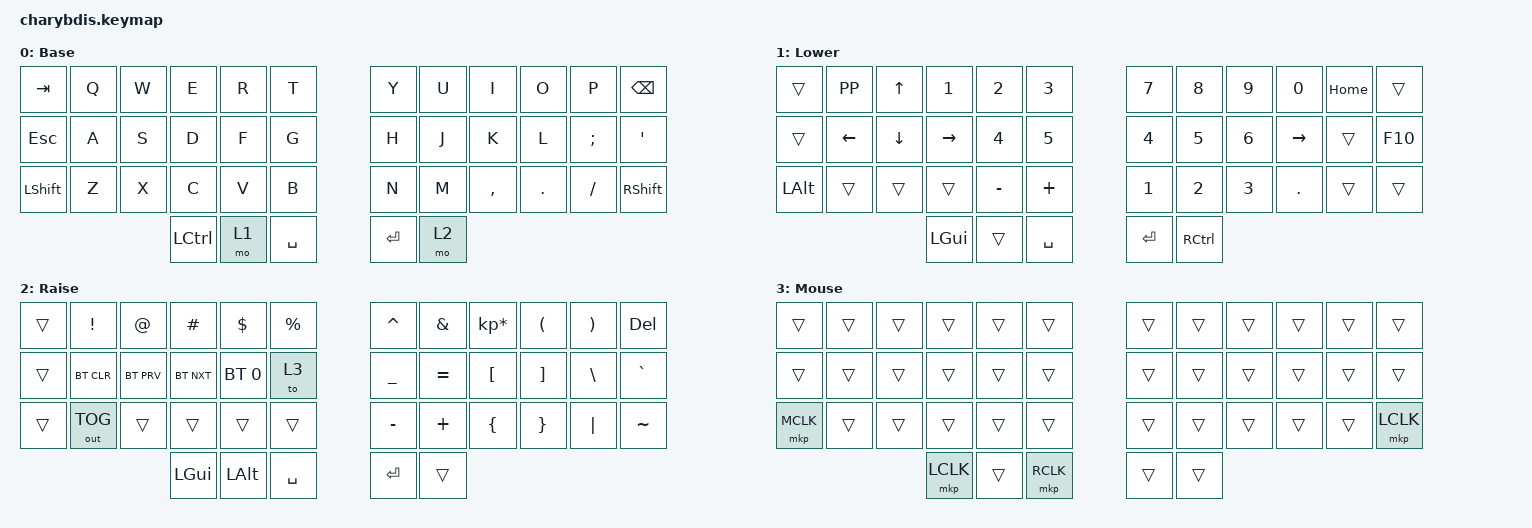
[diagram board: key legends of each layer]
#include <behaviors.dtsi>
#include <dt-bindings/zmk/keys.h>
#include <dt-bindings/zmk/bt.h>
#include <dt-bindings/zmk/mouse.h>
#include <dt-bindings/zmk/outputs.h>

/ {

  keymap {
    compatible = "zmk,keymap";

        Base {
            label = "Base";
            bindings = <
    &kp TAB     &kp Q   &kp W   &kp E       &kp R   &kp T                 &kp Y   &kp U      &kp I    &kp O     &kp P    &kp BSPC
    &kp ESC     &kp A   &kp S   &kp D       &kp F   &kp G                 &kp H   &kp J      &kp K    &kp L  &kp SEMI    &kp APOS
    &kp LSHFT   &kp Z   &kp X   &kp C       &kp V   &kp B                 &kp N   &kp M  &kp COMMA  &kp DOT  &kp FSLH  &kp RSHIFT
                                &kp LCTRL   &mo 1   &kp SPACE           &kp RET   &mo 2
            >;
            trackball-bindings = <&tmv_coarse>;
        };

        Lower {
            label = "Lower";
            bindings = <
    &trans          &kp K_PP    &kp UP      &kp N1      &kp N2      &kp N3               &kp N7     &kp N8    &kp N9     &kp N0  &kp HOME   &trans
    &trans          &kp LEFT    &kp DOWN    &kp RIGHT   &kp N4      &kp N5               &kp N4     &kp N5    &kp N6  &kp RIGHT    &trans  &kp F10
    &kp LEFT_ALT    &trans      &trans      &trans      &kp MINUS   &kp PLUS             &kp N1     &kp N2    &kp N3    &kp DOT    &trans   &trans
                                            &kp LGUI    &trans      &kp SPACE           &kp RET  &kp RCTRL
            >;
            trackball-bindings = <&tmv_fine>;
        };

        Raise {
            label = "Raise";
            bindings = <
    &trans  &kp EXCL        &kp AT      &kp HASH    &kp DLLR        &kp PRCNT         &kp CARET   &kp AMPS  &kp KP_MULTIPLY  &kp LPAR  &kp RPAR    &kp DEL
    &trans  &bt BT_CLR      &bt BT_PRV  &bt BT_NXT  &bt BT_SEL 0    &to 3             &kp UNDER  &kp EQUAL         &kp LBKT  &kp RBKT  &kp BSLH  &kp GRAVE
    &trans  &out OUT_TOG    &trans      &trans      &trans          &trans            &kp MINUS   &kp PLUS         &kp LBRC  &kp RBRC  &kp PIPE  &kp TILDE
                                        &kp LGUI    &kp LEFT_ALT    &kp SPACE           &kp RET     &trans
            >;
            trackball-bindings = <&tsl_fine>;
        };

        Mouse {
            bindings = <
   &trans  &trans  &trans     &trans  &trans     &trans    &trans  &trans  &trans  &trans  &trans     &trans
   &trans  &trans  &trans     &trans  &trans     &trans    &trans  &trans  &trans  &trans  &trans     &trans
&mkp MCLK  &trans  &trans     &trans  &trans     &trans    &trans  &trans  &trans  &trans  &trans  &mkp LCLK
                           &mkp LCLK  &trans  &mkp RCLK    &trans  &trans
            >;
            trackball-bindings = <&tmv_fine>;
        };

    };
};
